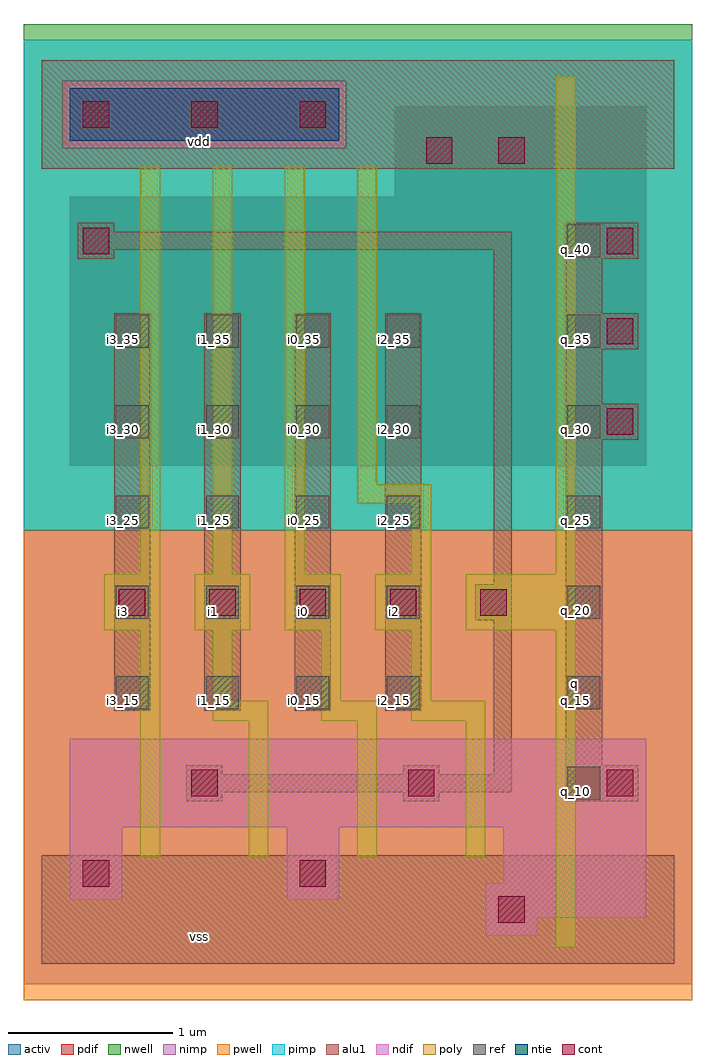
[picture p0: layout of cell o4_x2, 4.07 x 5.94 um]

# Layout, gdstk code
import gdstk
lib = gdstk.Library(unit=1e-6, precision=2.5e-09)
def R(c, l, rs):  # rectangles x0, y0, x1, y1
    for r in rs: c.add(gdstk.rectangle(r[:2], r[2:], *l))
def A(c, l, x, y, w, h, nx, ny, dx, dy):  # array of equal rectangles
    R(c, l, [(x+i*dx, y+j*dy, x+i*dx+w, y+j*dy+h) for i in range(nx) for j in range(ny)])
ndif = (3, 0)
pdif = (4, 0)
ntie = (5, 0)
ref = (24, 0)
cont = (25, 0)
pwell = (41, 0)
nwell = (42, 0)
activ = (43, 0)
pimp = (44, 0)
nimp = (45, 0)
poly = (46, 0)
alu1 = (49, 0)

o4_x2 = lib.new_cell('o4_x2')
R(o4_x2, ndif, [(2.7,0.17,3.02,0.28), (2.7,0.17,3.02,0.28), (2.7,0.28,3.68,0.49), (2.7,0.28,3.68,0.49), (0.17,0.39,0.49,0.83), (0.17,0.39,0.49,0.83), (1.49,0.39,1.81,0.83), (1.49,0.39,1.81,0.83), (2.81,0.49,3.68,0.83), (2.81,0.49,3.68,0.83), (0.17,0.83,3.68,1.37), (0.17,0.83,3.68,1.37)])
R(o4_x2, pdif, [(0.17,3.03,3.68,4.67), (0.17,3.03,3.68,4.67), (2.15,4.67,3.68,5.22), (2.15,4.67,3.68,5.22)])
R(o4_x2, ntie, [(0.17,5.01,1.81,5.33), (0.17,5.01,1.81,5.33)])
A(o4_x2, ref, 3.2, 1, 0.2, 0.2, 1, 7, 0, 0.55)
A(o4_x2, ref, 0.45, 1.55, 0.2, 0.2, 4, 5, 0.55, 0.55)
A(o4_x2, cont, 0.47, 2.12, 0.16, 0.16, 5, 1, 0.55, 0)
A(o4_x2, cont, 3.44, 3.22, 0.16, 0.16, 1, 3, 0, 0.55)
A(o4_x2, cont, 0.25, 5.09, 0.16, 0.16, 3, 1, 0.66, 0)
R(o4_x2, cont, [(2.78,0.25,2.94,0.41), (0.25,0.47,0.41,0.63), (1.57,0.47,1.73,0.63), (0.91,1.02,1.07,1.18), (2.23,1.02,2.39,1.18), (3.44,1.02,3.6,1.18), (0.25,4.32,0.41,4.48), (2.34,4.87,2.5,5.03), (2.78,4.87,2.94,5.03)])
R(o4_x2, pwell, [(-0.11,-0.22,3.96,2.64)])
R(o4_x2, nwell, [(-0.11,2.64,3.96,5.72)])
R(o4_x2, activ, [(2.7,0.17,3.02,0.28), (2.7,0.17,3.02,0.28), (2.7,0.28,3.68,0.49), (2.7,0.28,3.68,0.49), (0.17,0.39,0.49,0.83), (0.17,0.39,0.49,0.83), (1.49,0.39,1.81,0.83), (1.49,0.39,1.81,0.83), (2.81,0.49,3.68,0.83), (2.81,0.49,3.68,0.83), (0.17,0.83,3.68,1.37), (0.17,0.83,3.68,1.37), (0.17,3.03,3.68,4.67), (0.17,3.03,3.68,4.67), (2.15,4.67,3.68,5.22), (2.15,4.67,3.68,5.22), (0.17,5.01,1.81,5.33), (0.17,5.01,1.81,5.33)])
R(o4_x2, pimp, [(-0.11,2.64,3.96,4.965), (-0.11,4.965,0.125,5.375), (1.855,4.965,3.96,5.375), (-0.11,5.375,3.96,5.625)])
R(o4_x2, nimp, [(-0.11,-0.125,3.96,2.64), (0.125,4.965,1.855,5.375)])
A(o4_x2, poly, 1.26, 0.65, 0.12, 0.83, 3, 1, 0.66, 0)
A(o4_x2, poly, 0.38, 2.03, 0.34, 0.34, 4, 1, 0.55, 0)
A(o4_x2, poly, 0.6, 2.37, 0.12, 2.48, 3, 1, 0.44, 0)
R(o4_x2, poly, [(3.13,0.1,3.25,2.03), (0.6,0.65,0.72,2.03), (1.04,1.48,1.38,1.6), (1.7,1.48,2.04,1.6), (2.25,1.48,2.7,1.6), (1.04,1.6,1.16,2.03), (1.7,1.6,1.82,2.03), (2.25,1.6,2.37,2.03), (2.58,2.03,3.25,2.37), (2.25,2.37,2.37,2.8), (3.13,2.37,3.25,5.4), (1.92,2.8,2.37,2.92), (1.92,2.92,2.04,4.85)])
A(o4_x2, alu1, 0.44, 1.54, 0.22, 2.42, 4, 1, 0.55, 0)
A(o4_x2, alu1, 3.19, 3.19, 0.44, 0.22, 1, 3, 0, 0.55)
R(o4_x2, alu1, [(0,0,3.85,0.66), (0.88,0.99,1.1,1.045), (2.2,0.99,2.42,1.045), (3.19,0.99,3.63,1.21), (0.88,1.045,2.86,1.155), (0.88,1.155,1.1,1.21), (2.2,1.155,2.42,1.21), (2.75,1.155,2.86,2.09), (3.19,1.21,3.41,3.19), (2.64,2.09,2.86,2.31), (2.75,2.31,2.86,4.345), (3.19,3.41,3.41,3.74), (3.19,3.96,3.41,4.29), (0.22,4.29,0.44,4.345), (0.22,4.345,2.86,4.455), (0.22,4.455,0.44,4.51), (0,4.84,3.85,5.5)])
o4_x2.add(gdstk.Label('vss', (0.9625,0.165), layer=49, texttype=0))
o4_x2.add(gdstk.Label('q', (3.245,1.705), layer=49, texttype=0))
o4_x2.add(gdstk.Label('i2', (2.145,2.145), layer=49, texttype=0))
o4_x2.add(gdstk.Label('i0', (1.595,2.145), layer=49, texttype=0))
o4_x2.add(gdstk.Label('i1', (1.045,2.145), layer=49, texttype=0))
o4_x2.add(gdstk.Label('i3', (0.495,2.145), layer=49, texttype=0))
o4_x2.add(gdstk.Label('vdd', (0.9625,5.005), layer=49, texttype=0))
o4_x2.add(gdstk.Label('i1_35', (1.05,3.8), layer=24, texttype=0))
o4_x2.add(gdstk.Label('i1_30', (1.05,3.25), layer=24, texttype=0))
o4_x2.add(gdstk.Label('i1_25', (1.05,2.7), layer=24, texttype=0))
o4_x2.add(gdstk.Label('i1_20', (1.05,2.15), layer=24, texttype=0))
o4_x2.add(gdstk.Label('i1_15', (1.05,1.6), layer=24, texttype=0))
o4_x2.add(gdstk.Label('i0_15', (1.6,1.6), layer=24, texttype=0))
o4_x2.add(gdstk.Label('i0_20', (1.6,2.15), layer=24, texttype=0))
o4_x2.add(gdstk.Label('i0_25', (1.6,2.7), layer=24, texttype=0))
o4_x2.add(gdstk.Label('i0_30', (1.6,3.25), layer=24, texttype=0))
o4_x2.add(gdstk.Label('i0_35', (1.6,3.8), layer=24, texttype=0))
o4_x2.add(gdstk.Label('i2_15', (2.15,1.6), layer=24, texttype=0))
o4_x2.add(gdstk.Label('i2_20', (2.15,2.15), layer=24, texttype=0))
o4_x2.add(gdstk.Label('i2_25', (2.15,2.7), layer=24, texttype=0))
o4_x2.add(gdstk.Label('i2_30', (2.15,3.25), layer=24, texttype=0))
o4_x2.add(gdstk.Label('i2_35', (2.15,3.8), layer=24, texttype=0))
o4_x2.add(gdstk.Label('q_30', (3.25,3.25), layer=24, texttype=0))
o4_x2.add(gdstk.Label('q_25', (3.25,2.7), layer=24, texttype=0))
o4_x2.add(gdstk.Label('q_20', (3.25,2.15), layer=24, texttype=0))
o4_x2.add(gdstk.Label('q_10', (3.25,1.05), layer=24, texttype=0))
o4_x2.add(gdstk.Label('q_15', (3.25,1.6), layer=24, texttype=0))
o4_x2.add(gdstk.Label('q_40', (3.25,4.35), layer=24, texttype=0))
o4_x2.add(gdstk.Label('q_35', (3.25,3.8), layer=24, texttype=0))
o4_x2.add(gdstk.Label('i3_20', (0.5,2.15), layer=24, texttype=0))
o4_x2.add(gdstk.Label('i3_25', (0.5,2.7), layer=24, texttype=0))
o4_x2.add(gdstk.Label('i3_30', (0.5,3.25), layer=24, texttype=0))
o4_x2.add(gdstk.Label('i3_35', (0.5,3.8), layer=24, texttype=0))
o4_x2.add(gdstk.Label('i3_15', (0.5,1.6), layer=24, texttype=0))

lib.write_gds('o4_x2.gds')
